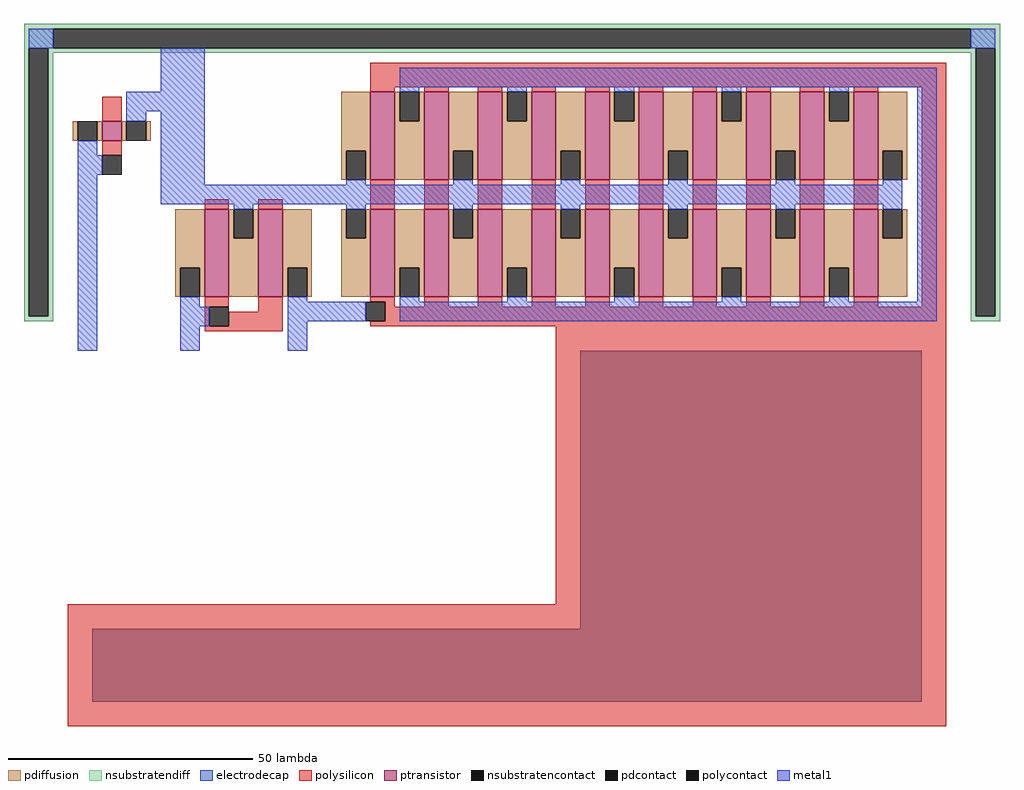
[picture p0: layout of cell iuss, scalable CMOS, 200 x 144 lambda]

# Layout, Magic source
magic
tech scmos
<< electrodecap >>
rect 21 -100 91 -43
rect -79 -115 91 -100
<< ptransistor >>
rect -77 0 -73 4
rect -22 -8 -17 10
rect -11 -8 -6 10
rect 0 -8 5 10
rect 11 -8 16 10
rect 22 -8 27 10
rect 33 -8 38 10
rect 44 -8 49 10
rect 55 -8 60 10
rect 66 -8 71 10
rect 77 -8 82 10
rect -56 -32 -51 -14
rect -45 -32 -40 -14
rect -22 -32 -17 -14
rect -11 -32 -6 -14
rect 0 -32 5 -14
rect 11 -32 16 -14
rect 22 -32 27 -14
rect 33 -32 38 -14
rect 44 -32 49 -14
rect 55 -32 60 -14
rect 66 -32 71 -14
rect 77 -32 82 -14
<< pdiffusion >>
rect -83 0 -82 4
rect -78 0 -77 4
rect -73 0 -72 4
rect -68 0 -67 4
rect -28 -2 -22 10
rect -28 -8 -27 -2
rect -23 -8 -22 -2
rect -17 4 -16 10
rect -12 4 -11 10
rect -17 -8 -11 4
rect -6 -2 0 10
rect -6 -8 -5 -2
rect -1 -8 0 -2
rect 5 4 6 10
rect 10 4 11 10
rect 5 -8 11 4
rect 16 -2 22 10
rect 16 -8 17 -2
rect 21 -8 22 -2
rect 27 4 28 10
rect 32 4 33 10
rect 27 -8 33 4
rect 38 -2 44 10
rect 38 -8 39 -2
rect 43 -8 44 -2
rect 49 4 50 10
rect 54 4 55 10
rect 49 -8 55 4
rect 60 -2 66 10
rect 60 -8 61 -2
rect 65 -8 66 -2
rect 71 4 72 10
rect 76 4 77 10
rect 71 -8 77 4
rect 82 -2 88 10
rect 82 -8 83 -2
rect 87 -8 88 -2
rect -62 -26 -56 -14
rect -62 -32 -61 -26
rect -57 -32 -56 -26
rect -51 -20 -50 -14
rect -46 -20 -45 -14
rect -51 -32 -45 -20
rect -40 -26 -34 -14
rect -40 -32 -39 -26
rect -35 -32 -34 -26
rect -28 -20 -27 -14
rect -23 -20 -22 -14
rect -28 -32 -22 -20
rect -17 -26 -11 -14
rect -17 -32 -16 -26
rect -12 -32 -11 -26
rect -6 -20 -5 -14
rect -1 -20 0 -14
rect -6 -32 0 -20
rect 5 -26 11 -14
rect 5 -32 6 -26
rect 10 -32 11 -26
rect 16 -20 17 -14
rect 21 -20 22 -14
rect 16 -32 22 -20
rect 27 -26 33 -14
rect 27 -32 28 -26
rect 32 -32 33 -26
rect 38 -20 39 -14
rect 43 -20 44 -14
rect 38 -32 44 -20
rect 49 -26 55 -14
rect 49 -32 50 -26
rect 54 -32 55 -26
rect 60 -20 61 -14
rect 65 -20 66 -14
rect 60 -32 66 -20
rect 71 -26 77 -14
rect 71 -32 72 -26
rect 76 -32 77 -26
rect 82 -20 83 -14
rect 87 -20 88 -14
rect 82 -32 88 -20
<< pdcontact >>
rect -82 0 -78 4
rect -72 0 -68 4
rect -27 -8 -23 -2
rect -16 4 -12 10
rect -5 -8 -1 -2
rect 6 4 10 10
rect 17 -8 21 -2
rect 28 4 32 10
rect 39 -8 43 -2
rect 50 4 54 10
rect 61 -8 65 -2
rect 72 4 76 10
rect 83 -8 87 -2
rect -61 -32 -57 -26
rect -50 -20 -46 -14
rect -39 -32 -35 -26
rect -27 -20 -23 -14
rect -16 -32 -12 -26
rect -5 -20 -1 -14
rect 6 -32 10 -26
rect 17 -20 21 -14
rect 28 -32 32 -26
rect 39 -20 43 -14
rect 50 -32 54 -26
rect 61 -20 65 -14
rect 72 -32 76 -26
rect 83 -20 87 -14
<< nsubstratendiff >>
rect -93 23 107 24
rect -93 19 -87 23
rect 101 19 107 23
rect -93 -36 -92 19
rect -88 18 102 19
rect -88 -36 -87 18
rect -93 -37 -87 -36
rect 101 -36 102 18
rect 106 -36 107 19
rect 101 -37 107 -36
<< nsubstratencontact >>
rect -87 19 101 23
rect -92 -36 -88 19
rect 102 -36 106 19
<< polysilicon >>
rect -22 11 96 16
rect -22 10 -17 11
rect -11 10 -6 11
rect 0 10 5 11
rect 11 10 16 11
rect 22 10 27 11
rect 33 10 38 11
rect 44 10 49 11
rect 55 10 60 11
rect 66 10 71 11
rect 77 10 82 11
rect -77 4 -73 9
rect -77 -3 -73 0
rect -56 -14 -51 -12
rect -45 -14 -40 -12
rect -22 -14 -17 -8
rect -11 -14 -6 -8
rect 0 -14 5 -8
rect 11 -14 16 -8
rect 22 -14 27 -8
rect 33 -14 38 -8
rect 44 -14 49 -8
rect 55 -14 60 -8
rect 66 -14 71 -8
rect 77 -14 82 -8
rect -56 -34 -51 -32
rect -56 -38 -55 -34
rect -45 -35 -40 -32
rect -22 -33 -17 -32
rect -51 -38 -40 -35
rect -19 -34 -17 -33
rect -11 -34 -6 -32
rect 0 -34 5 -32
rect 11 -34 16 -32
rect 22 -34 27 -32
rect 33 -34 38 -32
rect 44 -34 49 -32
rect 55 -34 60 -32
rect 66 -34 71 -32
rect 77 -34 82 -32
rect 91 -34 96 11
rect -19 -37 96 -34
rect -22 -38 96 -37
rect -56 -39 -40 -38
rect 16 -95 96 -38
rect -84 -120 96 -95
<< polycontact >>
rect -77 -7 -73 -3
rect -55 -38 -51 -34
rect -23 -37 -19 -33
<< metal1 >>
rect -92 19 -87 23
rect 101 19 106 23
rect -65 10 -56 19
rect -72 6 -56 10
rect -72 4 -68 6
rect -82 -3 -78 0
rect -82 -7 -77 -3
rect -82 -43 -78 -7
rect -65 -9 -56 6
rect -16 11 94 15
rect -16 10 -12 11
rect 6 10 10 11
rect 28 10 32 11
rect 50 10 54 11
rect 72 10 76 11
rect -27 -9 -23 -8
rect -5 -9 -1 -8
rect 17 -9 21 -8
rect 39 -9 43 -8
rect 61 -9 65 -8
rect 83 -9 87 -8
rect -65 -13 87 -9
rect -50 -14 -46 -13
rect -27 -14 -23 -13
rect -5 -14 -1 -13
rect 17 -14 21 -13
rect 39 -14 43 -13
rect 61 -14 65 -13
rect 83 -14 87 -13
rect -61 -34 -57 -32
rect -39 -33 -35 -32
rect -16 -33 -12 -32
rect 6 -33 10 -32
rect 28 -33 32 -32
rect 50 -33 54 -32
rect 72 -33 76 -32
rect 90 -33 94 11
rect -61 -38 -55 -34
rect -39 -37 -23 -33
rect -16 -37 94 -33
rect -61 -43 -57 -38
rect -39 -43 -35 -37
<< end >>
